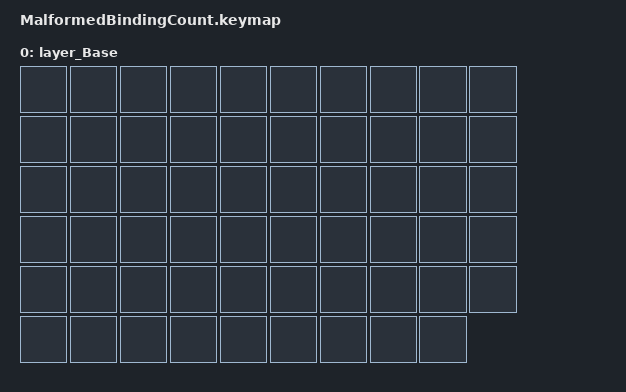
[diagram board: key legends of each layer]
/* THIS FILE WAS GENERATED BY GO60 LAYOUT EDITOR */

#define KB_TYPE_GO_60 2
#define KB_TYPE KB_TYPE_GO_60
#define LAYER_Base 0

/ {
    keymap {
        compatible = "zmk,keymap";

        layer_Base {
            bindings = <
                &none &none &none &none &none &none &none &none &none &none
                &none &none &none &none &none &none &none &none &none &none
                &none &none &none &none &none &none &none &none &none &none
                &none &none &none &none &none &none &none &none &none &none
                &none &none &none &none &none &none &none &none &none &none
                &none &none &none &none &none &none &none &none &none
            >;
        };
    };
};
